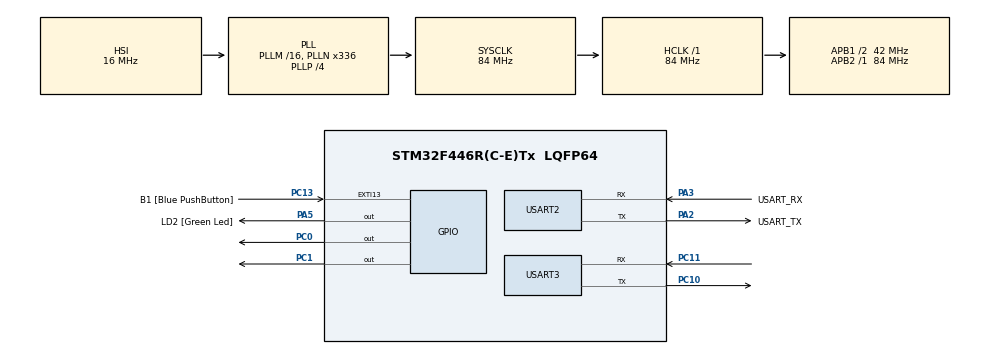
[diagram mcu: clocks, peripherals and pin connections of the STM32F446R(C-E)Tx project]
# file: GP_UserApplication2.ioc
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Mcu.Family=STM32F4
Mcu.Name=STM32F446R(C-E)Tx
Mcu.Package=LQFP64
NVIC.PriorityGroup=NVIC_PRIORITYGROUP_0
NVIC.USART3_IRQn=true\:0\:0\:false\:false\:true\:true\:true\:true
PA13.GPIO_Label=TMS
PA13.Mode=Serial_Wire
PA13.Signal=SYS_JTMS-SWDIO
PA14.GPIO_Label=TCK
PA14.Mode=Serial_Wire
PA14.Signal=SYS_JTCK-SWCLK
PA2.GPIO_Label=USART_TX
PA2.Mode=Asynchronous
PA2.Signal=USART2_TX
PA3.GPIO_Label=USART_RX
PA3.Mode=Asynchronous
PA3.Signal=USART2_RX
PA5.GPIO_Label=LD2 [Green Led]
PA5.Signal=GPIO_Output
PB3.GPIO_Label=SWO
PB3.Signal=SYS_JTDO-SWO
PC0.Signal=GPIO_Output
PC1.Signal=GPIO_Output
PC10.Mode=Asynchronous
PC10.Signal=USART3_TX
PC11.Mode=Asynchronous
PC11.Signal=USART3_RX
PC13.GPIO_Label=B1 [Blue PushButton]
PC13.GPIO_ModeDefaultEXTI=GPIO_MODE_IT_FALLING
PC13.Signal=GPXTI13
PC14-OSC32_IN.Signal=RCC_OSC32_IN
PC15-OSC32_OUT.Signal=RCC_OSC32_OUT
PH0-OSC_IN.Signal=RCC_OSC_IN
PH1-OSC_OUT.Signal=RCC_OSC_OUT
ProjectManager.HeapSize=0x200
ProjectManager.StackSize=0x400
ProjectManager.TargetToolchain=STM32CubeIDE
RCC.48MHZClocksFreq_Value=84000000
RCC.AHBFreq_Value=84000000
RCC.APB1CLKDivider=RCC_HCLK_DIV2
RCC.APB1Freq_Value=42000000
RCC.APB1TimFreq_Value=84000000
RCC.APB2Freq_Value=84000000
RCC.APB2TimFreq_Value=84000000
RCC.CortexFreq_Value=84000000
RCC.FLatency-AdvancedSettings=FLASH_LATENCY_2
RCC.HCLKFreq_Value=84000000
RCC.HSE_VALUE=8000000
RCC.HSI_VALUE=16000000
RCC.PLLN=336
RCC.PLLP=RCC_PLLP_DIV4
RCC.SYSCLKFreq_VALUE=84000000
RCC.SYSCLKSource=RCC_SYSCLKSOURCE_PLLCLK
RCC.USBFreq_Value=168000000
RCC.VCOOutputFreq_Value=336000000
USART2.VirtualMode=VM_ASYNC
USART3.VirtualMode=VM_ASYNC
board=NUCLEO-F446RE

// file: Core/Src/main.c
/* USER CODE BEGIN Header */
/**
  ******************************************************************************
  * @file           : main.c
  * @brief          : Main program body
  ******************************************************************************
  * @attention
  *
  * Copyright (c) 2022 STMicroelectronics.
  * All rights reserved.
  *
  * This software is licensed under terms that can be found in the LICENSE file
  * in the root directory of this software component.
  * If no LICENSE file comes with this software, it is provided AS-IS.
  *
  ******************************************************************************
  */
/* USER CODE END Header */
#include "main.h"

/* USER CODE BEGIN Includes */
uint8_t RxData[100];
uint32_t volatile flag=0;
char *p;
uint32_t volatile SeriaRecieve2;
/* USER CODE END Includes */

 UART_HandleTypeDef huart2;
UART_HandleTypeDef huart3;

void SystemClock_Config(void);
static void MX_GPIO_Init(void);
static void MX_USART2_UART_Init(void);
static void MX_USART3_UART_Init(void);
/* USER CODE BEGIN PFP */
void blink(void);
void blink2(void);
/* USER CODE END PFP */

int main(void)
{

  /* MCU Configuration--------------------------------------------------------*/

  /* Reset of all peripherals, Initializes the Flash interface and the Systick. */
  HAL_Init();

  /* Configure the system clock */
  SystemClock_Config();

  /* Initialize all configured peripherals */
  MX_GPIO_Init();
  MX_USART2_UART_Init();
  MX_USART3_UART_Init();

  /* Infinite loop */
  /* USER CODE BEGIN WHILE */
  while (1)
    {
  	  HAL_GPIO_WritePin(GPIOC, GPIO_PIN_0, 1);
  /* USER CODE END WHILE */

  /* USER CODE BEGIN 3 */
    //HAL_UART_Receive(&huart3,&SeriaRecieve2, 1,1000 );

    if(flag==1)
    {
  	  HAL_GPIO_WritePin(GPIOC, GPIO_PIN_0, 0);
  	  HAL_GPIO_WritePin(GPIOC, GPIO_PIN_1, 0);
  	  //HAL_GPIO_WritePin(GPIOA, GPIO_PIN_5, 1);

  	  HAL_UART_Receive(&huart3,&SeriaRecieve2, 1,1000 );
  	  if (SeriaRecieve2 == 0)
  	  	{
  	  		blink2();
  	  	}
  	  	else if (SeriaRecieve2 == 1)
  	  	{
  	  		HAL_GPIO_WritePin(GPIOC, GPIO_PIN_0, 1);
  	  		HAL_GPIO_WritePin(GPIOC, GPIO_PIN_1, 0);
  	  		bootloader_jump_to_user_app1();
  	  	}
  	  	else if (SeriaRecieve2 == 2)
  	  	{
  	  		HAL_GPIO_WritePin(GPIOC, GPIO_PIN_0, 0);// Turn OFF User LED to indicate that we left Bootloader
  	  		HAL_GPIO_WritePin(GPIOC, GPIO_PIN_1, 1);

  	  		bootloader_jump_to_user_app2();
  	  	}
  	  	else if (SeriaRecieve2 == 4)
  	  	{
  	  		HAL_GPIO_WritePin(GPIOC, GPIO_PIN_5, 1);// Turn OFF User LED to indicate that we left Bootloader
  	  		bootloader_jump_to_bootloader();
  	  	}
  	  flag=0;
  	  __HAL_UART_ENABLE_IT(&huart3,UART_IT_RXNE);

    }
  }
    }
    /* USER CODE END 3 */

  void blink(void)
  {
  	uint32_t current_tick1;
  	current_tick1= HAL_GetTick();
  	for(uint8_t i=0; i<5; i++)
  	{
  		HAL_GPIO_WritePin(GPIOA, GPIO_PIN_5, 1);
  		current_tick1 = HAL_GetTick();
  		while(HAL_GetTick() <= (current_tick1+100));
  		HAL_GPIO_WritePin(GPIOA, GPIO_PIN_5, 0);
  		current_tick1 = HAL_GetTick();
  		while(HAL_GetTick() <= (current_tick1+500));
  	}
  }
  void blink2(void)
  {
  	//uint32_t current_tick1;
  	//current_tick1= HAL_GetTick();
  	for(uint8_t i=0; i<10; i++)
  	{
  		HAL_GPIO_WritePin(GPIOC, GPIO_PIN_0, 0);
  		//current_tick1 = HAL_GetTick();
  		//while(HAL_GetTick() <= (current_tick1+50));
  		for(uint32_t i=0;i<10000000;i=i+32);
  		HAL_GPIO_WritePin(GPIOC, GPIO_PIN_0, 1);
  		for(uint32_t i=0;i<10000000;i=i+32);

  		//current_tick1 = HAL_GetTick();
  		//while(HAL_GetTick() <= (current_tick1+50));
  	}
  }

  /*code to jump to user application
   *Here we are assuming FLASH_SECTOR2_BASE_ADDRESS
   *is where the user application is stored
   */
  void bootloader_jump_to_user_app1(void)
  {
     //just a function pointer to hold the address of the reset handler of the user app.
      void (*app_reset_handler)(void);
      printmsg("BL_DEBUG_MSG:bootloader_jump_to_user_app\n");
      // 1. configure the MSP by reading the value from the base address of the sector 2
      uint32_t msp_value = *(volatile uint32_t *)FLASH_SECTOR2_BASE_ADDRESS;
      printmsg("BL_DEBUG_MSG:MSP value : %#x\n",msp_value);
      //This function comes from CMSIS.
      __set_MSP(msp_value);
      //SCB->VTOR = FLASH_SECTOR2_BASE_ADDRESS;
      /* 2. Now fetch the reset handler address of the user application
       * from the location FLASH_SECTOR2_BASE_ADDRESS+4
       */
      uint32_t resethandler_address = *(volatile uint32_t *) (FLASH_SECTOR2_BASE_ADDRESS + 4);
      app_reset_handler = (void*) resethandler_address;
      printmsg("BL_DEBUG_MSG: app reset handler addr : %#x\n",app_reset_handler);
      //3. jump to reset handler of the user application
      app_reset_handler();

  }
  void bootloader_jump_to_user_app2(void)
  {

     //just a function pointer to hold the address of the reset handler of the user app.
      void (*app_reset_handler)(void);
      printmsg("BL_DEBUG_MSG:bootloader_jump_to_user_app\n");
      // 1. configure the MSP by reading the value from the base address of the sector 5
      uint32_t msp_value = *(volatile uint32_t *)FLASH_SECTOR5_BASE_ADDRESS;
      printmsg("BL_DEBUG_MSG:MSP value : %#x\n",msp_value);
      //This function comes from CMSIS.
      __set_MSP(msp_value);
      //SCB->VTOR = FLASH_SECTOR5_BASE_ADDRESS;
      /* 2. Now fetch the reset handler address of the user application
       * from the location FLASH_SECTOR5_BASE_ADDRESS+4
       */
      uint32_t resethandler_address = *(volatile uint32_t *) (FLASH_SECTOR5_BASE_ADDRESS + 4);
      app_reset_handler = (void*) resethandler_address;
      printmsg("BL_DEBUG_MSG: app reset handler addr : %#x\n",app_reset_handler);
      //3. jump to reset handler of the user application
      app_reset_handler();
  }
  void bootloader_jump_to_bootloader(void)
  {

     //just a function pointer to hold the address of the reset handler of the user app.
      void (*app_reset_handler)(void);
      printmsg("BL_DEBUG_MSG:bootloader_jump_to_user_app\n");
      // 1. configure the MSP by reading the value from the base address of the sector 0
      uint32_t msp_value = *(volatile uint32_t *)FLASH_SECTOR0_BASE_ADDRESS;
      printmsg("BL_DEBUG_MSG:MSP value : %#x\n",msp_value);
      //This function comes from CMSIS.
      __set_MSP(msp_value);
      //SCB->VTOR = FLASH_SECTOR0_BASE_ADDRESS;
      /* 2. Now fetch the reset handler address of the user application
       * from the location FLASH_SECTOR0_BASE_ADDRESS+4
       */
      uint32_t resethandler_address = *(volatile uint32_t *) (FLASH_SECTOR0_BASE_ADDRESS + 4);
      app_reset_handler = (void*) resethandler_address;
      printmsg("BL_DEBUG_MSG: app reset handler addr : %#x\n",app_reset_handler);
      //3. jump to reset handler of the user application
      app_reset_handler();
  }
  /* prints formatted string to console over UART */
   void printmsg(char *format,...)
   {
  	#ifdef BL_DEBUG_MSG_EN
  	 char str[80];
  	 /*Extract the the argument list using VA apis */
  	 va_list args;
  	 va_start(args, format);
  	 vsprintf(str, format,args);
  	 HAL_UART_Transmit(D_UART,(uint8_t *)str, strlen(str),HAL_MAX_DELAY);
  	 va_end(args);
  	#endif
   }

void SystemClock_Config(void)
{
  RCC_OscInitTypeDef RCC_OscInitStruct = {0};
  RCC_ClkInitTypeDef RCC_ClkInitStruct = {0};

  /** Configure the main internal regulator output voltage
  */
  __HAL_RCC_PWR_CLK_ENABLE();
  __HAL_PWR_VOLTAGESCALING_CONFIG(PWR_REGULATOR_VOLTAGE_SCALE3);

  /** Initializes the RCC Oscillators according to the specified parameters
  * in the RCC_OscInitTypeDef structure.
  */
  RCC_OscInitStruct.OscillatorType = RCC_OSCILLATORTYPE_HSI;
  RCC_OscInitStruct.HSIState = RCC_HSI_ON;
  RCC_OscInitStruct.HSICalibrationValue = RCC_HSICALIBRATION_DEFAULT;
  RCC_OscInitStruct.PLL.PLLState = RCC_PLL_ON;
  RCC_OscInitStruct.PLL.PLLSource = RCC_PLLSOURCE_HSI;
  RCC_OscInitStruct.PLL.PLLM = 16;
  RCC_OscInitStruct.PLL.PLLN = 336;
  RCC_OscInitStruct.PLL.PLLP = RCC_PLLP_DIV4;
  RCC_OscInitStruct.PLL.PLLQ = 2;
  RCC_OscInitStruct.PLL.PLLR = 2;
  if (HAL_RCC_OscConfig(&RCC_OscInitStruct) != HAL_OK)
  {
    Error_Handler();
  }

  /** Initializes the CPU, AHB and APB buses clocks
  */
  RCC_ClkInitStruct.ClockType = RCC_CLOCKTYPE_HCLK|RCC_CLOCKTYPE_SYSCLK
                              |RCC_CLOCKTYPE_PCLK1|RCC_CLOCKTYPE_PCLK2;
  RCC_ClkInitStruct.SYSCLKSource = RCC_SYSCLKSOURCE_PLLCLK;
  RCC_ClkInitStruct.AHBCLKDivider = RCC_SYSCLK_DIV1;
  RCC_ClkInitStruct.APB1CLKDivider = RCC_HCLK_DIV2;
  RCC_ClkInitStruct.APB2CLKDivider = RCC_HCLK_DIV1;

  if (HAL_RCC_ClockConfig(&RCC_ClkInitStruct, FLASH_LATENCY_2) != HAL_OK)
  {
    Error_Handler();
  }
}

static void MX_USART2_UART_Init(void)
{

  huart2.Instance = USART2;
  huart2.Init.BaudRate = 115200;
  huart2.Init.WordLength = UART_WORDLENGTH_8B;
  huart2.Init.StopBits = UART_STOPBITS_1;
  huart2.Init.Parity = UART_PARITY_NONE;
  huart2.Init.Mode = UART_MODE_TX_RX;
  huart2.Init.HwFlowCtl = UART_HWCONTROL_NONE;
  huart2.Init.OverSampling = UART_OVERSAMPLING_16;
  if (HAL_UART_Init(&huart2) != HAL_OK)
  {
    Error_Handler();
  }

}

static void MX_USART3_UART_Init(void)
{

  huart3.Instance = USART3;
  huart3.Init.BaudRate = 9600;
  huart3.Init.WordLength = UART_WORDLENGTH_8B;
  huart3.Init.StopBits = UART_STOPBITS_1;
  huart3.Init.Parity = UART_PARITY_NONE;
  huart3.Init.Mode = UART_MODE_TX_RX;
  huart3.Init.HwFlowCtl = UART_HWCONTROL_NONE;
  huart3.Init.OverSampling = UART_OVERSAMPLING_16;
  if (HAL_UART_Init(&huart3) != HAL_OK)
  {
    Error_Handler();
  }
  /* USER CODE BEGIN USART3_Init 2 */
  __HAL_UART_ENABLE_IT(&huart3,UART_IT_RXNE);

  /* USER CODE END USART3_Init 2 */

}

static void MX_GPIO_Init(void)
{
  GPIO_InitTypeDef GPIO_InitStruct = {0};

  /* GPIO Ports Clock Enable */
  __HAL_RCC_GPIOC_CLK_ENABLE();
  __HAL_RCC_GPIOH_CLK_ENABLE();
  __HAL_RCC_GPIOA_CLK_ENABLE();
  __HAL_RCC_GPIOB_CLK_ENABLE();

  /*Configure GPIO pin Output Level */
  HAL_GPIO_WritePin(GPIOC, GPIO_PIN_0|GPIO_PIN_1, GPIO_PIN_RESET);

  /*Configure GPIO pin Output Level */
  HAL_GPIO_WritePin(LD2_GPIO_Port, LD2_Pin, GPIO_PIN_RESET);

  /*Configure GPIO pin : B1_Pin */
  GPIO_InitStruct.Pin = B1_Pin;
  GPIO_InitStruct.Mode = GPIO_MODE_IT_FALLING;
  GPIO_InitStruct.Pull = GPIO_NOPULL;
  HAL_GPIO_Init(B1_GPIO_Port, &GPIO_InitStruct);

  /*Configure GPIO pins : PC0 PC1 */
  GPIO_InitStruct.Pin = GPIO_PIN_0|GPIO_PIN_1;
  GPIO_InitStruct.Mode = GPIO_MODE_OUTPUT_PP;
  GPIO_InitStruct.Pull = GPIO_NOPULL;
  GPIO_InitStruct.Speed = GPIO_SPEED_FREQ_LOW;
  HAL_GPIO_Init(GPIOC, &GPIO_InitStruct);

  /*Configure GPIO pin : LD2_Pin */
  GPIO_InitStruct.Pin = LD2_Pin;
  GPIO_InitStruct.Mode = GPIO_MODE_OUTPUT_PP;
  GPIO_InitStruct.Pull = GPIO_NOPULL;
  GPIO_InitStruct.Speed = GPIO_SPEED_FREQ_LOW;
  HAL_GPIO_Init(LD2_GPIO_Port, &GPIO_InitStruct);

}

void Error_Handler(void)
{
  __disable_irq();
  while (1)
  {
  }
}
